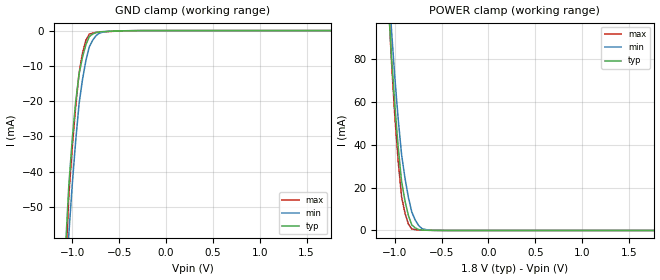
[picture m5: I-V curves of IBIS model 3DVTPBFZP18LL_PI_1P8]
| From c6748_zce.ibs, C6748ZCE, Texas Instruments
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|   Model Cell 3DVTPBFZP18LL_PI_1P8
|IC1833DVTPBFZP18LL_PI_1P8
[Model]   3DVTPBFZP18LL_PI_1P8
Model_type   Input
Polarity   Non-Inverting
Vinl =  0.63
Vinh =  1.17
C_comp   1.254226p   1.200533p   1.264851p
[Model Spec]
Vinl   0.63   0.567   0.693
Vinh   1.17   1.053   1.287
[Temperature Range]   25   125   -40
[Voltage Range]   1.8   1.62   1.98
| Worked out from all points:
|   GND clamp passes 1 mA (typ) near -0.78 V on its own axis
|   POWER clamp passes 1 mA (typ) near -0.77 V on its own axis
[POWER_clamp]
|   voltage   I(typ)   I(min)   I(max)
-1.8V     812.4mA    848.7mA    874.6mA
-1.073V   110mA      121.8mA    111.2mA
-1.036V   81.87mA    94.3mA     79.67mA
-1V       58.6mA     71.62mA    53.64mA
-963.6mV  38.92mA    51.96mA    32.32mA
-927.3mV  22.83mA    35.31mA    15.72mA
-890.9mV  13.72mA    24.34mA    8.029mA
-854.5mV  6.965mA    15.43mA    3.028mA
-818.2mV  2.574mA    8.576mA    711.8uA
-745.5mV  422.4uA    2.295mA    207.6uA
-636.4mV  79.03uA    182.4uA    97.99uA
1.764V    -25.75pA   -519.3nA   -132.1pA
[GND_clamp]
|   voltage   I(typ)   I(min)   I(max)
-1.8V     -593.4mA   -494.6mA   -853.3mA
-1.073V   -62.13mA   -74.14mA   -68.26mA
-1.036V   -43.76mA   -57.65mA   -46.65mA
-1V       -30.75mA   -43.64mA   -33.1mA
-963.6mV  -20.27mA   -31.35mA   -21.56mA
-927.3mV  -12.32mA   -20.76mA   -12.03mA
-890.9mV  -7.558mA   -13.89mA   -6.391mA
-854.5mV  -4.019mA   -8.509mA   -2.715mA
-818.2mV  -1.706mA   -4.609mA   -1.003mA
-745.5mV  -545.1uA   -1.421mA   -528.1uA
-600mV    -195.8uA   -181.2uA   -256.1uA
1.764V    17.31nA    68.32nA    24.84nA
